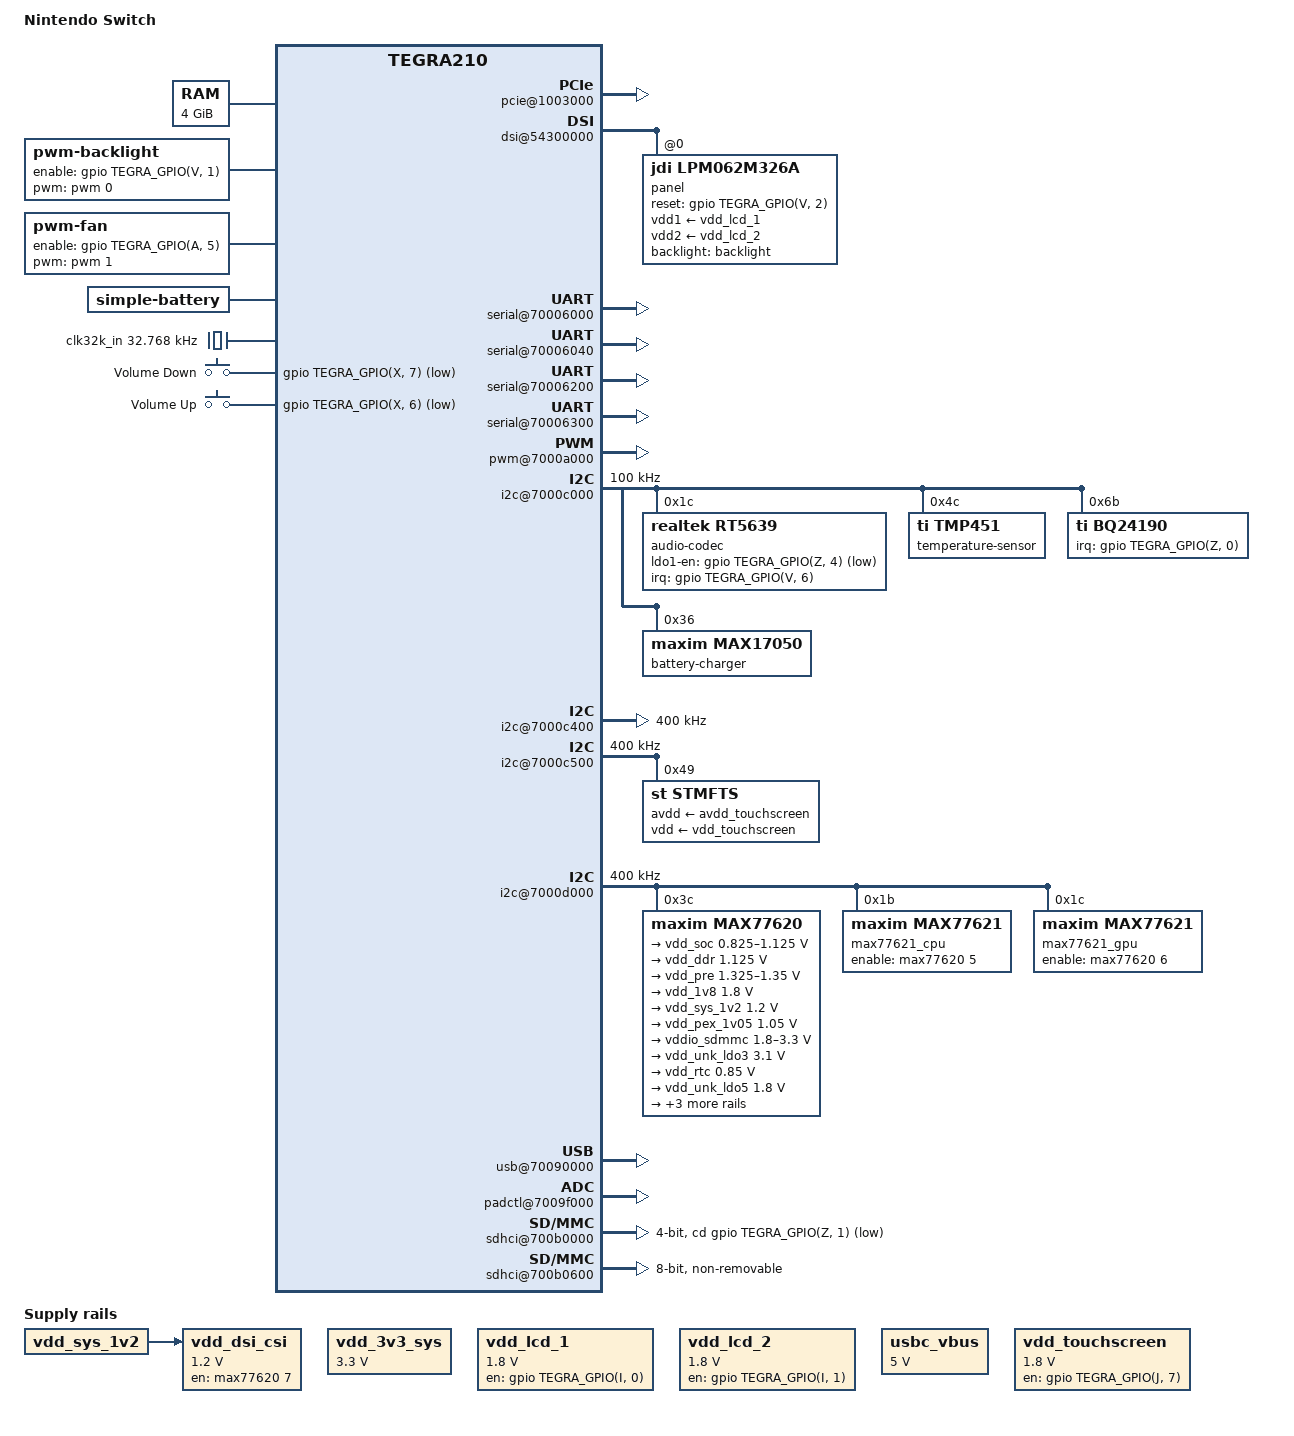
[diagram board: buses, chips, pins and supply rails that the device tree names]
// SPDX-License-Identifier: GPL-2.0
/dts-v1/;

#include <dt-bindings/input/input.h>
#include <dt-bindings/mfd/max77620.h>
#include <dt-bindings/pwm/pwm.h>
#include <dt-bindings/thermal/thermal.h>

#include "tegra210.dtsi"

/ {
	model = "Nintendo Switch";
	compatible = "nintendo,switch", "nvidia,tegra210";

	aliases {
		i2c1 = "/i2c@7000c000";
		i2c2 = "/i2c@7000c400";
		i2c3 = "/i2c@7000c500";
		i2c5 = "/i2c@7000d000";
		rtc0 = "/i2c@7000d000/max77620@3c";
		rtc1 = "/rtc@7000e000";
		serial0 = &uarta;
		serial1 = &uartb;
		serial2 = &uartc;
		serial3 = &uartd;
	};

	chosen {
		bootargs = "earlycon drm.debug=0x3f";
		stdout-path = "serial1:115200n8";
	};

	memory {
		device_type = "memory";
		reg = <0x0 0x80000000 0x1 0x0>;
	};

	cpus {
		cpu@0 {
			vdd-cpu-supply = <&max77621_cpu>;
		};
	};

	clock@70110000 {
		status = "okay";

		vdd-cpu-supply = <&max77621_cpu>;
		nvidia,sample-rate = <12500>;
		nvidia,droop-ctrl = <0x00000f00>;
		nvidia,force-mode = <1>;
		nvidia,cf = <10>;
		nvidia,ci = <0>;
		nvidia,cg = <2>;
		nvidia,i2c-fs-rate = <400000>;
	};

	pcie@1003000 {
		status = "okay";

		avdd-pll-uerefe-supply = <&avdd_1v05_pll>;
		hvddio-pex-supply = <&vdd_1v8>;
		dvddio-pex-supply = <&vdd_pex_1v05>;
		dvdd-pex-pll-supply = <&vdd_pex_1v05>;
		hvdd-pex-pll-e-supply = <&vdd_1v8>;
		vddio-pex-ctl-supply = <&vdd_1v8>;

		pci@1,0 {
			phys = <&{/padctl@7009f000/pads/pcie/lanes/pcie-1}>,
			       <&{/padctl@7009f000/pads/pcie/lanes/pcie-2}>,
			       <&{/padctl@7009f000/pads/pcie/lanes/pcie-3}>,
			       <&{/padctl@7009f000/pads/pcie/lanes/pcie-4}>;
			phy-names = "pcie-0", "pcie-1", "pcie-2", "pcie-3";
			status = "okay";
		};

		pci@2,0 {
			phys = <&{/padctl@7009f000/pads/pcie/lanes/pcie-0}>;
			phy-names = "pcie-0";
			status = "okay";
		};
	};

	host1x@50000000 {
		dsi@54300000 {
			status = "okay";

			avdd-dsi-csi-supply = <&vdd_dsi_csi>;

			panel@0 {
				compatible = "jdi,lpm062m326a";
				reg = <0>;

				reset-gpios = <&gpio TEGRA_GPIO(V, 2) GPIO_ACTIVE_HIGH>;
				vdd1-supply = <&vdd_lcd_1>;
				vdd2-supply = <&vdd_lcd_2>;
				backlight = <&backlight>;
			};
		};

		dpaux@54040000 {
			//status = "okay";
		};

	};

	backlight: backlight {
		compatible = "pwm-backlight";
		pwms = <&pwm 0 1666666 0>;
		pwm-names = "backlight";
		brightness-levels = <0 1 2 3 4 5 6 7 8 9 10 11 12 13 14 15 16
		                     17 18 19 20 21 22 23 24 25 26 27 28 29 30
		                     31 32 33 34 35 36 37 38 39 40 41 42 43 44
		                     45 46 47 48 49 50 51 52 53 54 55 56 57 58
		                     59 60 61 62 63 64 65 66 67 68 69 70 71 72
		                     73 74 75 76 77 78 79 80 81 82 83 84 85 86
		                     87 88 89 90 91 92 93 94 95 96 97 98 99 100>;
		default-brightness-level = <80>;

		enable-gpios = <&gpio TEGRA_GPIO(V, 1) GPIO_ACTIVE_HIGH>;
	};

	gpu@57000000 {
		vdd-supply = <&max77621_gpu>;
	};

	pinmux: pinmux@700008d4 {
		pinctrl-names = "default";
		pinctrl-0 = <&state_default>;

		state_default: pinmux {
			// I2C
			i2c1 {
				nvidia,pins = "gen1_i2c_sda_pj0", "gen1_i2c_scl_pj1";
				nvidia,function = "i2c1";
				nvidia,pull = <TEGRA_PIN_PULL_NONE>;
				nvidia,tristate = <TEGRA_PIN_DISABLE>;
				nvidia,enable-input = <TEGRA_PIN_ENABLE>;
				nvidia,open-drain = <TEGRA_PIN_DISABLE>;
				nvidia,io-hv = <TEGRA_PIN_DISABLE>;
			};
			i2c2 {
				nvidia,pins = "gen2_i2c_scl_pj2", "gen2_i2c_sda_pj3";
				nvidia,function = "i2c2";
				nvidia,pull = <TEGRA_PIN_PULL_NONE>;
				nvidia,tristate = <TEGRA_PIN_DISABLE>;
				nvidia,enable-input = <TEGRA_PIN_ENABLE>;
				nvidia,open-drain = <TEGRA_PIN_DISABLE>;
				nvidia,io-hv = <TEGRA_PIN_DISABLE>;
			};
			i2c3 {
				nvidia,pins = "gen3_i2c_scl_pf0", "gen3_i2c_sda_pf1";
				nvidia,function = "i2c3";
				nvidia,pull = <TEGRA_PIN_PULL_NONE>;
				nvidia,tristate = <TEGRA_PIN_DISABLE>;
				nvidia,enable-input = <TEGRA_PIN_ENABLE>;
				nvidia,open-drain = <TEGRA_PIN_DISABLE>;
				nvidia,io-hv = <TEGRA_PIN_DISABLE>;
			};
			i2c5 {
				nvidia,pins = "pwr_i2c_scl_py3", "pwr_i2c_sda_py4";
				nvidia,function = "i2cpmu";
				nvidia,pull = <TEGRA_PIN_PULL_NONE>;
				nvidia,tristate = <TEGRA_PIN_DISABLE>;
				nvidia,enable-input = <TEGRA_PIN_ENABLE>;
				nvidia,open-drain = <TEGRA_PIN_DISABLE>;
				nvidia,io-hv = <TEGRA_PIN_DISABLE>;
			};

			// Right side Joy-Con
			uart2_tx {
				nvidia,pins = "uart2_tx_pg0", "uart2_rts_pg2";
				nvidia,function = "uartb";
				nvidia,pull = <TEGRA_PIN_PULL_NONE>;
				nvidia,tristate = <TEGRA_PIN_DISABLE>;
				nvidia,enable-input = <TEGRA_PIN_DISABLE>;
				nvidia,open-drain = <TEGRA_PIN_DISABLE>;
			};
			uart2_rx {
				nvidia,pins = "uart2_rx_pg1", "uart2_cts_pg3";
				nvidia,function = "uartb";
				nvidia,pull = <TEGRA_PIN_PULL_UP>;
				nvidia,tristate = <TEGRA_PIN_DISABLE>;
				nvidia,enable-input = <TEGRA_PIN_ENABLE>;
				nvidia,open-drain = <TEGRA_PIN_DISABLE>;
			};

			// SD card
			sdmmc1_clk {
				nvidia,pins = "sdmmc1_clk_pm0";
				nvidia,function = "sdmmc1";
				nvidia,pull = <TEGRA_PIN_PULL_NONE>;
				nvidia,tristate = <TEGRA_PIN_DISABLE>;
				nvidia,enable-input = <TEGRA_PIN_ENABLE>;
				nvidia,open-drain = <TEGRA_PIN_DISABLE>;
			};
			sdmmc1_io {
				nvidia,pins = "sdmmc1_cmd_pm1", "sdmmc1_dat3_pm2", "sdmmc1_dat2_pm3", "sdmmc1_dat1_pm4", "sdmmc1_dat0_pm5";
				nvidia,function = "sdmmc1";
				nvidia,pull = <TEGRA_PIN_PULL_UP>;
				nvidia,tristate = <TEGRA_PIN_DISABLE>;
				nvidia,enable-input = <TEGRA_PIN_ENABLE>;
				nvidia,open-drain = <TEGRA_PIN_DISABLE>;
			};
			sdmmc1_cd {
				nvidia,pins = "pz1";
				nvidia,function = "sdmmc1";
				nvidia,pull = <TEGRA_PIN_PULL_UP>;
				nvidia,tristate = <TEGRA_PIN_DISABLE>;
				nvidia,enable-input = <TEGRA_PIN_ENABLE>;
				nvidia,open-drain = <TEGRA_PIN_DISABLE>;
			};
			sdmmc1_pwr {
				nvidia,pins = "dmic3_clk_pe4";
				nvidia,function = "rsvd3";
				nvidia,pull = <TEGRA_PIN_PULL_DOWN>;
				nvidia,tristate = <TEGRA_PIN_DISABLE>;
				nvidia,enable-input = <TEGRA_PIN_ENABLE>;
				nvidia,open-drain = <TEGRA_PIN_DISABLE>;
			};

			// LCD control
			lcd_bl_pwm {
				nvidia,pins = "lcd_bl_pwm_pv0";
				nvidia,function = "pwm0";
				nvidia,pull = <TEGRA_PIN_PULL_NONE>;
				nvidia,tristate = <TEGRA_PIN_DISABLE>;
				nvidia,enable-input = <TEGRA_PIN_DISABLE>;
				nvidia,open-drain = <TEGRA_PIN_DISABLE>;
			};
			lcd_gpio {
				// bl_en, rst, pwr1, pwr2
				nvidia,pins = "lcd_bl_en_pv1", "lcd_rst_pv2", "nfc_en_pi0", "nfc_int_pi1";
				nvidia,function = "rsvd3";
				nvidia,pull = <TEGRA_PIN_PULL_NONE>;
				nvidia,tristate = <TEGRA_PIN_DISABLE>;
				nvidia,enable-input = <TEGRA_PIN_DISABLE>;
				nvidia,open-drain = <TEGRA_PIN_DISABLE>;
			};

			// Buttons
			buttons {
				nvidia,pins = "button_vol_up_px6", "button_vol_down_px7";
				nvidia,function = "rsvd3";
				nvidia,pull = <TEGRA_PIN_PULL_UP>;
				nvidia,tristate = <TEGRA_PIN_DISABLE>;
				nvidia,enable-input = <TEGRA_PIN_ENABLE>;
				nvidia,open-drain = <TEGRA_PIN_DISABLE>;
			};

			// Audio codec
			rt5639_pwr { // or reset?
				nvidia,pins = "pz4";
				nvidia,function = "rsvd3";
				nvidia,pull = <TEGRA_PIN_PULL_DOWN>;
				nvidia,tristate = <TEGRA_PIN_DISABLE>;
				nvidia,enable-input = <TEGRA_PIN_DISABLE>;
				nvidia,open-drain = <TEGRA_PIN_DISABLE>;
			};
			rt5639_irq { // guess, could be bb4
				nvidia,pins = "touch_rst_pv6";
				nvidia,function = "rsvd3";
				nvidia,pull = <TEGRA_PIN_PULL_NONE>;
				nvidia,tristate = <TEGRA_PIN_ENABLE>;
				nvidia,enable-input = <TEGRA_PIN_ENABLE>;
				nvidia,open-drain = <TEGRA_PIN_DISABLE>;
			};

			// Fan
			fan_pwr {
				nvidia,pins = "sata_led_active_pa5";
				nvidia,function = "rsvd3";
				nvidia,pull = <TEGRA_PIN_PULL_NONE>;
				nvidia,tristate = <TEGRA_PIN_DISABLE>;
				nvidia,enable-input = <TEGRA_PIN_DISABLE>;
				nvidia,open-drain = <TEGRA_PIN_DISABLE>;
			};
			fan_pwm {
				nvidia,pins = "lcd_gpio2_pv4";
				nvidia,function = "pwm1";
				nvidia,pull = <TEGRA_PIN_PULL_NONE>;
				nvidia,tristate = <TEGRA_PIN_DISABLE>;
				nvidia,enable-input = <TEGRA_PIN_DISABLE>;
				nvidia,open-drain = <TEGRA_PIN_DISABLE>;
			};

			// Touchscreen
			touch_enable {
				nvidia,pins = "dap4_sclk_pj7";
				nvidia,function = "rsvd3";
				nvidia,pull = <TEGRA_PIN_PULL_DOWN>;
				nvidia,tristate = <TEGRA_PIN_DISABLE>;
				nvidia,enable-input = <TEGRA_PIN_DISABLE>;
				nvidia,open-drain = <TEGRA_PIN_DISABLE>;
			};

			// Misc unknown GPIOs
			in_none {
				// p5,p4,p3,p2,s1,h5,x5,y1,e6,h6,k2
				nvidia,pins = "sdmmc3_dat0_pp5", "sdmmc3_dat1_pp4", "sdmmc3_dat2_pp3", "sdmmc3_dat3_pp2", "cam2_mclk_ps1", "bt_wake_ap_ph5", "button_power_on_px5", "button_home_py1", "pe6", "ph6", "pk2";
				nvidia,function = "rsvd3";
				nvidia,pull = <TEGRA_PIN_PULL_NONE>;
				nvidia,tristate = <TEGRA_PIN_ENABLE>;
				nvidia,enable-input = <TEGRA_PIN_ENABLE>;
				nvidia,open-drain = <TEGRA_PIN_DISABLE>;
			};
			in_up {
				// s3,bb2,cc2,s7,x1,x4,y0,k4,k6,k7,z0,z3
				nvidia,pins = "cam_i2c_sda_ps3", "dvfs_clk_pbb2", "spdif_out_pcc2", "cam1_pwdn_ps7", "touch_int_px1", "temp_alert_px4", "button_slide_sw_py0", "pk4", "pk6", "pk7", "pz0", "pz3";
				nvidia,function = "rsvd3";
				nvidia,pull = <TEGRA_PIN_PULL_UP>;
				nvidia,tristate = <TEGRA_PIN_ENABLE>;
				nvidia,enable-input = <TEGRA_PIN_ENABLE>;
				nvidia,open-drain = <TEGRA_PIN_DISABLE>;
			};
			in_down {
				// p0,s0,h2,x2,k0,k1,z2,bb4
				nvidia,pins = "sdmmc3_clk_pp0", "cam1_mclk_ps0", "wifi_wake_ap_ph2", "motion_int_px2", "pk0", "pk1", "pz2", "gpio_x3_aud_pbb4";
				nvidia,function = "rsvd3";
				nvidia,pull = <TEGRA_PIN_PULL_DOWN>;
				nvidia,tristate = <TEGRA_PIN_ENABLE>;
				nvidia,enable-input = <TEGRA_PIN_ENABLE>;
				nvidia,open-drain = <TEGRA_PIN_DISABLE>;
			};
			out_none {
				// cc4,h7
				nvidia,pins = "usb_vbus_en0_pcc4", "ap_wake_nfc_ph7";
				nvidia,function = "rsvd3";
				nvidia,pull = <TEGRA_PIN_PULL_NONE>;
				nvidia,tristate = <TEGRA_PIN_DISABLE>;
				nvidia,enable-input = <TEGRA_PIN_DISABLE>;
				nvidia,open-drain = <TEGRA_PIN_DISABLE>;
			};
			out_down {
				// e5,j5,bb3,cc3,h0,h1,h3,h4,s6,v5,k3,k5,l0
				nvidia,pins = "dmic3_dat_pe5", "dap4_din_pj5", "gpio_x1_aud_pbb3", "spdif_in_pcc3", "wifi_en_ph0", "wifi_rst_ph1", "ap_wake_bt_ph3", "bt_rst_ph4", "cam_flash_en_ps6", "ap_ready_pv5", "pk3", "pk5", "pl0";
				nvidia,function = "rsvd3";
				nvidia,pull = <TEGRA_PIN_PULL_DOWN>;
				nvidia,tristate = <TEGRA_PIN_DISABLE>;
				nvidia,enable-input = <TEGRA_PIN_DISABLE>;
				nvidia,open-drain = <TEGRA_PIN_DISABLE>;
			};
		};
	};

	/* debug port */
	serial@70006000 {
		status = "okay";
	};

	/* right joycon */
	serial@70006040 {
		status = "okay";
	};

	/* bluetooth */
	serial@70006200 {
		status = "okay";
	};

	/* left joycon */
	serial@70006300 {
		status = "okay";
	};

	pwm@7000a000 {
		status = "okay";
		#pwm-cells = <3>;
	};

	fan: pwm-fan {
		compatible = "pwm-fan";
		cooling-min-state = <0>;
		cooling-max-state = <7>;
		#cooling-cells = <2>;
		pwms = <&pwm 1 40000 PWM_POLARITY_INVERTED>;
		enable-gpios = <&gpio TEGRA_GPIO(A, 5) GPIO_ACTIVE_HIGH>;
		cooling-levels = <0 64 80 96 128 160 192 255>;
	};

	bat: battery {
		compatible = "simple-battery";
		precharge-current-microamp = <512000>;
		charge-term-current-microamp = <256000>;
	};

	/* i2c1 @ 100000hz
	18: usb power delivery
	1c: realtek 5639
	36: some maxim fuel gauge
	4c:
	52:
	6b:
	*/
	i2c@7000c000 {
		status = "okay";
		clock-frequency = <100000>;

		audio-codec@1c {
			compatible = "realtek,rt5639";
			reg = <0x1c>;
			interrupt-parent = <&gpio>;
			interrupts = <TEGRA_GPIO(V, 6) IRQ_TYPE_LEVEL_HIGH>;
			realtek,ldo1-en-gpios = <&gpio TEGRA_GPIO(Z, 4) GPIO_ACTIVE_LOW>;
			status = "okay";
		};

		temperature-sensor@4c {
			compatible = "ti,tmp451";
			reg = <0x4c>;
// 			interrupt-parent = <&gpio>;
// 			interrupts = <TEGRA_GPIO(I, 6) IRQ_TYPE_LEVEL_LOW>;
		};

		bq24190: charger@6b {
			compatible = "ti,bq24190";
			reg = <0x6b>;
			interrupt-parent = <&gpio>;
			interrupts = <TEGRA_GPIO(Z, 0) IRQ_TYPE_EDGE_FALLING>;
			ti,system-minimum-microvolt = <3200000>;
			monitored-battery = <&bat>;
			status = "okay";
			omit-battery-class;
		};

		battery-charger@36 {
			compatible = "maxim,max17050";
			reg = <0x36>;
			maxim,rsns-microohm = <10000>;
			maxim,over-heat-temp = <600>;
			maxim,over-volt = <4300>;
			monitored-battery = <&bat>;
			power-supplies = <&bq24190>;
			status = "okay";
		};
	};

	/* i2c2 @ 400000hz
	29: ambient light sensor
	40:
	41:
	44:
	45:
	46:
	47:
	48:
	49:
	4a:
	4b:
	4d:
	*/
	i2c@7000c400 {
		status = "okay";
		clock-frequency = <400000>;
	};

	/* i2c3 @ 400000hz
	49:
	*/
	i2c@7000c500 {
		status = "okay";
		clock-frequency = <400000>;

		stmfts: touchscreen@49 {
			compatible = "st,stmfts";
			reg = <0x49>;
// 			interrupt-parent = <&gpio>;
// 			interrupts = <TEGRA_GPIO(X, 1) IRQ_TYPE_LEVEL_HIGH>;
			avdd-supply = <&avdd_touchscreen>;
			vdd-supply = <&vdd_touchscreen>;
			touchscreen-size-x = <1280>;
			touchscreen-size-y = <720>;
		};
	};

	/* i2c5 @ 400000hz
	1b: max77621_cpu
	1c: max77621_gpu
	3c: max77620
	68: max77620_rtc
	*/
	i2c@7000d000 {
		status = "okay";
		clock-frequency = <400000>;

		max77620: max77620@3c {
			compatible = "maxim,max77620";
			reg = <0x3c>;
			interrupts = <GIC_SPI 86 IRQ_TYPE_LEVEL_HIGH>;

			#interrupt-cells = <2>;
			interrupt-controller;

			#gpio-cells = <2>;
			gpio-controller;

			#thermal-sensor-cells = <0>;


			pinctrl-names = "default";
			pinctrl-0 = <&max77620_default>;

			max77620_default: pinmux {
				gpio2 {
					pins = "gpio2";
					function = "fps-out";
					maxim,active-fps-source = <MAX77620_FPS_SRC_0>;
					maxim,active-fps-power-up-slot = <0>;
					maxim,active-fps-power-down-slot = <7>;
				};

				gpio3 {
					pins = "gpio3";
					function = "fps-out";
					maxim,active-fps-source = <MAX77620_FPS_SRC_0>;
					maxim,active-fps-power-up-slot = <4>;
					maxim,active-fps-power-down-slot = <2>;
				};

				pin_32k {
					pins = "gpio4";
					function = "32k-out1";
				};

				gpio5_6_7 {
					pins = "gpio5", "gpio6", "gpio7";
					function = "gpio";
					drive-push-pull = <1>;
				};
			};

			fps {
				fps0 {
					maxim,fps-event-source = <MAX77620_FPS_EVENT_SRC_EN0>;
					maxim,suspend-fps-time-period-us = <5120>;
				};

				fps1 {
					maxim,fps-event-source = <MAX77620_FPS_EVENT_SRC_EN1>;
					maxim,suspend-fps-time-period-us = <5120>;
				};

				fps2 {
					maxim,fps-event-source = <MAX77620_FPS_EVENT_SRC_EN0>;
					maxim,suspend-fps-time-period-us = <5120>;
				};
			};

			regulators {
				in-ldo0-1-supply = <&vdd_pre>;
				in-ldo7-8-supply = <&vdd_pre>;

				vdd_soc: sd0 {
					regulator-name = "VDD_SOC";
					regulator-min-microvolt = <825000>;
					regulator-max-microvolt = <1125000>;
					regulator-always-on;
					regulator-boot-on;

					regulator-enable-ramp-delay = <146>;
					regulator-disable-ramp-delay = <4080>;
					regulator-ramp-delay = <27500>;

					maxim,active-fps-source = <MAX77620_FPS_SRC_1>;
					maxim,active-fps-power-up-slot = <1>;
					maxim,active-fps-power-down-slot = <7>;
				};

				vdd_ddr: sd1 {
					regulator-name = "VDD_DDR_1V1_PMIC";
					regulator-min-microvolt = <1125000>;
					regulator-max-microvolt = <1125000>;
					regulator-always-on;
					regulator-boot-on;

					regulator-enable-ramp-delay = <130>;
					regulator-disable-ramp-delay = <145800>;
					regulator-ramp-delay = <27500>;

					maxim,active-fps-source = <MAX77620_FPS_SRC_0>;
					maxim,active-fps-power-up-slot = <5>;
					maxim,active-fps-power-down-slot = <1>;
				};

				vdd_pre: sd2 {
					regulator-name = "VDD_PRE_REG_1V35";
					regulator-min-microvolt = <1325000>;
					regulator-max-microvolt = <1350000>;
					regulator-always-on;
					regulator-boot-on;

					regulator-enable-ramp-delay = <176>;
					regulator-disable-ramp-delay = <32000>;
					regulator-ramp-delay = <27500>;

					maxim,active-fps-source = <MAX77620_FPS_SRC_1>;
					maxim,active-fps-power-up-slot = <2>;
					maxim,active-fps-power-down-slot = <5>;
				};

				vdd_1v8: sd3 {
					regulator-name = "VDD_1V8";
					regulator-min-microvolt = <1800000>;
					regulator-max-microvolt = <1800000>;
					regulator-always-on;
					regulator-boot-on;

					regulator-enable-ramp-delay = <242>;
					regulator-disable-ramp-delay = <118000>;
					regulator-ramp-delay = <27500>;

					maxim,active-fps-source = <MAX77620_FPS_SRC_0>;
					maxim,active-fps-power-up-slot = <3>;
					maxim,active-fps-power-down-slot = <3>;
				};

				vdd_sys_1v2: ldo0 {
					regulator-name = "AVDD_SYS_1V2";
					regulator-min-microvolt = <1200000>;
					regulator-max-microvolt = <1200000>;
					regulator-always-on;
					regulator-boot-on;

					regulator-enable-ramp-delay = <26>;
					regulator-disable-ramp-delay = <626>;
					regulator-ramp-delay = <100000>;

					maxim,active-fps-source = <MAX77620_FPS_SRC_NONE>;
					maxim,active-fps-power-up-slot = <0>;
					maxim,active-fps-power-down-slot = <7>;
				};

				vdd_pex_1v05: ldo1 {
					regulator-name = "VDD_PEX_1V05";
					regulator-min-microvolt = <1050000>;
					regulator-max-microvolt = <1050000>;
					regulator-always-on;
					regulator-boot-on;

					regulator-enable-ramp-delay = <22>;
					regulator-disable-ramp-delay = <630>;
					regulator-ramp-delay = <100000>;

					maxim,active-fps-source = <MAX77620_FPS_SRC_NONE>;
					maxim,active-fps-power-up-slot = <0>;
					maxim,active-fps-power-down-slot = <7>;
				};

				vddio_sdmmc: ldo2 {
					regulator-name = "VDDIO_SDMMC";
					regulator-min-microvolt = <1800000>;
					regulator-max-microvolt = <3300000>;
					regulator-always-on;
					regulator-boot-on;

					regulator-enable-ramp-delay = <62>;
					regulator-disable-ramp-delay = <650>;
					regulator-ramp-delay = <100000>;

					maxim,active-fps-source = <MAX77620_FPS_SRC_NONE>;
					maxim,active-fps-power-up-slot = <0>;
					maxim,active-fps-power-down-slot = <7>;
				};

				vdd_unk_ldo3: ldo3 {
					regulator-name = "VDD_UNK_LDO3";
					regulator-min-microvolt = <3100000>;
					regulator-max-microvolt = <3100000>;
					regulator-always-on;
					regulator-boot-on;

					regulator-enable-ramp-delay = <50>;
					regulator-disable-ramp-delay = <1110>;
					regulator-ramp-delay = <100000>;

					maxim,active-fps-source = <MAX77620_FPS_SRC_NONE>;
					maxim,active-fps-power-up-slot = <0>;
					maxim,active-fps-power-down-slot = <7>;
				};

				vdd_rtc: ldo4 {
					regulator-name = "VDD_RTC";
					regulator-min-microvolt = <850000>;
					regulator-max-microvolt = <850000>;
					regulator-always-on;
					regulator-boot-on;

					regulator-enable-ramp-delay = <22>;
					regulator-disable-ramp-delay = <610>;
					regulator-ramp-delay = <100000>;

					maxim,active-fps-source = <MAX77620_FPS_SRC_0>;
					maxim,active-fps-power-up-slot = <1>;
					maxim,active-fps-power-down-slot = <7>;
				};

				vdd_unk_ldo5: ldo5 {
					regulator-name = "VDD_UNK_LDO5";
					regulator-min-microvolt = <1800000>;
					regulator-max-microvolt = <1800000>;
					regulator-always-on;
					regulator-boot-on;

					regulator-enable-ramp-delay = <62>;
					regulator-disable-ramp-delay = <640>;
					regulator-ramp-delay = <100000>;

					maxim,active-fps-source = <MAX77620_FPS_SRC_NONE>;
					maxim,active-fps-power-up-slot = <0>;
					maxim,active-fps-power-down-slot = <7>;
				};

				avdd_touchscreen: ldo6 {
					regulator-name = "UNK_LDO6";
					regulator-min-microvolt = <2900000>;
					regulator-max-microvolt = <2900000>;

					regulator-enable-ramp-delay = <36>;
					regulator-disable-ramp-delay = <674>;
					regulator-ramp-delay = <100000>;

					maxim,active-fps-source = <MAX77620_FPS_SRC_NONE>;
					maxim,active-fps-power-up-slot = <0>;
					maxim,active-fps-power-down-slot = <7>;
				};

				avdd_1v05_pll: ldo7 {
					regulator-name = "AVDD_1V05_PLL";
					regulator-min-microvolt = <1050000>;
					regulator-max-microvolt = <1050000>;
					regulator-always-on;
					regulator-boot-on;

					regulator-enable-ramp-delay = <24>;
					regulator-disable-ramp-delay = <2768>;
					regulator-ramp-delay = <100000>;

					maxim,active-fps-source = <MAX77620_FPS_SRC_1>;
					maxim,active-fps-power-up-slot = <3>;
					maxim,active-fps-power-down-slot = <4>;
				};

				avdd_1v05: ldo8 {
					regulator-name = "AVDD_SATA_HDMI_DP_1V05";
					regulator-min-microvolt = <1050000>;
					regulator-max-microvolt = <1050000>;
					regulator-always-on;
					regulator-boot-on;

					regulator-enable-ramp-delay = <22>;
					regulator-disable-ramp-delay = <1160>;
					regulator-ramp-delay = <100000>;

					maxim,active-fps-source = <MAX77620_FPS_SRC_NONE>;
					maxim,active-fps-power-up-slot = <0>;
					maxim,active-fps-power-down-slot = <7>;
				};
			};
		};

		max77621_cpu: pmic@1b {
			compatible = "maxim,max77621";
			reg = <0x1b>;
// 			interrupt-parent = <&gpio>;
// 			interrupts = <TEGRA_GPIO(Y, 1) IRQ_TYPE_LEVEL_LOW>;
			regulator-name = "PPVAR_CPU";
			// smaug: 800000..1231250
			regulator-min-microvolt = <800000>;
			regulator-max-microvolt = <1231250>;
			regulator-ramp-delay = <12000>;
			maxim,externally-enable;
			maxim,enable-gpio = <&max77620 5 0>;
			maxim,dvs-default-state = <1>;
			regulator-always-on;
			maxim,enable-remote-sense;
			maxim,enable-active-discharge;
			junction-warn-millicelsius = <120>;

			// not supported in mainline yet
			//maxim,inductor-value = <MAX8973_INDUCTOR_VAL_PLUS_30_PER>;

			#thermal-sensor-cells = <0>;
		};

		max77621_gpu: pmic@1c {
			compatible = "maxim,max77621";
			reg = <0x1c>;
// 			interrupt-parent = <&gpio>;
// 			interrupts = <TEGRA_GPIO(A, 6) IRQ_TYPE_LEVEL_LOW>;
			regulator-name = "PPVAR_GPU";
			regulator-min-microvolt = <840000>;
			regulator-max-microvolt = <1150000>;
			regulator-ramp-delay = <12000>;
			maxim,externally-enable;
			maxim,enable-gpio = <&max77620 6 0>;
			maxim,dvs-default-state = <1>;
			maxim,enable-remote-sense;
			maxim,enable-active-discharge;
			junction-warn-millicelsius = <120>;

			// not supported in mainline yet
			//maxim,inductor-value = <MAX8973_INDUCTOR_VAL_PLUS_30_PER>;

			#thermal-sensor-cells = <0>;
		};
	};

	pmc@7000e400 {
		nvidia,invert-interrupt;
	};

	usb@70090000 {
		phys = <&{/padctl@7009f000/pads/usb2/lanes/usb2-0}>,
		       <&{/padctl@7009f000/pads/pcie/lanes/pcie-6}>;
		phy-names = "usb2-0", "usb3-0";

		dvddio-pex-supply = <&vdd_pex_1v05>;
		hvddio-pex-supply = <&vdd_1v8>;
		avdd-usb-supply = <&vdd_3v3_sys>;
		avdd-pll-utmip-supply = <&vdd_1v8>;
		avdd-pll-uerefe-supply = <&avdd_1v05_pll>;
		dvdd-usb-ss-pll-supply = <&vdd_pex_1v05>;
		hvdd-usb-ss-pll-e-supply = <&vdd_1v8>;

		status = "okay";
	};

	padctl@7009f000 {
		status = "okay";

		pads {
			usb2 {
				status = "okay";

				lanes {
					usb2-0 {
						nvidia,function = "xusb";
						status = "okay";
					};
				};
			};

			pcie {
				status = "okay";

				lanes {
					pcie-0 {
						nvidia,function = "pcie-x1";
						status = "okay";
					};
					pcie-1 {
						nvidia,function = "pcie-x4";
						status = "okay";
					};
					pcie-2 {
						nvidia,function = "pcie-x4";
						status = "okay";
					};
					pcie-3 {
						nvidia,function = "pcie-x4";
						status = "okay";
					};
					pcie-4 {
						nvidia,function = "pcie-x4";
						status = "okay";
					};
					pcie-5 {
						nvidia,function = "usb3-ss";
						status = "okay";
					};
					pcie-6 {
						nvidia,function = "usb3-ss";
						status = "okay";
					};
				};
			};
		};

		ports {
			usb2-0 {
				status = "okay";
				vbus-supply = <&usbc_vbus>;
				mode = "otg";
			};

			usb3-0 {
				nvidia,usb2-companion = <0>;
				vbus-supply = <&usbc_vbus>;
				status = "okay";
			};
		};
	};

	/* MMC/SD */
	sdhci@700b0000 {
		status = "okay";
		bus-width = <4>;

		cd-gpios = <&gpio TEGRA_GPIO(Z, 1) GPIO_ACTIVE_LOW>;
		power-gpios = <&gpio TEGRA_GPIO(E, 4) GPIO_ACTIVE_HIGH>;
		vqmmc-supply = <&vddio_sdmmc>;
	};

	/* eMMC */
	sdhci@700b0600 {
		status = "okay";
		bus-width = <8>;
		non-removable;
	};

	aconnect@702c0000 {
		status = "okay";

		dma@702e2000 {
			status = "okay";
		};

		agic@702f9000 {
			status = "okay";
		};
	};

	clocks {
		compatible = "simple-bus";
		#address-cells = <1>;
		#size-cells = <0>;

		clk32k_in: clock@0 {
			compatible = "fixed-clock";
			reg = <0>;
			#clock-cells = <0>;
			clock-frequency = <32768>;
		};
	};

	gpio-keys {
		compatible = "gpio-keys";
		label = "gpio-keys";

		volume_down {
			label = "Volume Down";
			gpios = <&gpio TEGRA_GPIO(X, 7) GPIO_ACTIVE_LOW>;
			linux,code = <KEY_VOLUMEDOWN>;
		};

		volume_up {
			label = "Volume Up";
			gpios = <&gpio TEGRA_GPIO(X, 6) GPIO_ACTIVE_LOW>;
			linux,code = <KEY_VOLUMEUP>;
		};
	};

	regulators {
		compatible = "simple-bus";
		#address-cells = <1>;
		#size-cells = <0>;

		vdd_3v3_sys: regulator@0 {
			compatible = "regulator-fixed";
			reg = <0>;
			regulator-name = "PP3300";
			regulator-min-microvolt = <3300000>;
			regulator-max-microvolt = <3300000>;
			regulator-boot-on;
			regulator-always-on;
		};

		vdd_lcd_1: regulator@1 {
			compatible = "regulator-fixed";
			reg = <1>;
			regulator-name = "vcc_lcd_1";
			regulator-min-microvolt = <1800000>;
			regulator-max-microvolt = <1800000>;
			gpio = <&gpio TEGRA_GPIO(I, 0) GPIO_ACTIVE_HIGH>;
			enable-active-high;
		};

		vdd_lcd_2: regulator@2 {
			compatible = "regulator-fixed";
			reg = <2>;
			regulator-name = "vcc_lcd_2";
			regulator-min-microvolt = <1800000>;
			regulator-max-microvolt = <1800000>;
			gpio = <&gpio TEGRA_GPIO(I, 1) GPIO_ACTIVE_HIGH>;
			enable-active-high;
		};

		vdd_dsi_csi: regulator@3 {
			compatible = "regulator-fixed";
			reg = <3>;
			regulator-name = "AVDD_DSI_CSI_1V2";
			gpio = <&max77620 7 0>;
			enable-active-high;
			regulator-min-microvolt = <1200000>;
			regulator-max-microvolt = <1200000>;
			vin-supply = <&vdd_sys_1v2>;
			regulator-always-on;
			regulator-boot-on;
		};

		usbc_vbus: regulator@4 {
			compatible = "regulator-fixed";
			reg = <4>;
			regulator-name = "USBC_VBUS";
			regulator-min-microvolt = <5000000>;
			regulator-max-microvolt = <5000000>;
		};

		vdd_touchscreen: regulator@5 {
			compatible = "regulator-fixed";
			reg = <5>;
			regulator-name = "vdd_touchscreen";
			regulator-min-microvolt = <1800000>;
			regulator-max-microvolt = <1800000>;
			gpio = <&gpio TEGRA_GPIO(J, 7) GPIO_ACTIVE_HIGH>;
			enable-active-high;
		};
	};

	thermal-zones {
		cpu {
			polling-delay-passive = <250>;
			polling-delay = <500>;
			hwmon;

			trips {
				cpu_alert0: cpu-alert-0 {
					temperature = <40000>;
					hysteresis = <5000>;
					type = "active";
				};
				cpu_alert1: cpu-alert-1 {
					temperature = <50000>;
					hysteresis = <5000>;
					type = "active";
				};
				cpu_alert2: cpu-alert-2 {
					temperature = <60000>;
					hysteresis = <5000>;
					type = "active";
				};
				cpu_alert3: cpu-alert-3 {
					temperature = <70000>;
					hysteresis = <5000>;
					type = "active";
				};
				cpu_alert4: cpu-alert-4 {
					temperature = <80000>;
					hysteresis = <5000>;
					type = "active";
				};
			};

			cooling-maps {
				map1 {
					trip = <&cpu_alert0>;
					cooling-device = <&fan 1 2>;
				};
				map2 {
					trip = <&cpu_alert1>;
					cooling-device = <&fan 2 3>;
				};
				map3 {
					trip = <&cpu_alert2>;
					cooling-device = <&fan 3 5>;
				};
				map4 {
					trip = <&cpu_alert3>;
					cooling-device = <&fan 5 6>;
				};
				map5 {
					trip = <&cpu_alert4>;
					cooling-device = <&fan 6 THERMAL_NO_LIMIT>;
				};
			};
		};

		gpu {
			polling-delay-passive = <250>;
			polling-delay = <500>;
			hwmon;

			trips {
				gpu_alert0: gpu-alert-0 {
					temperature = <40000>;
					hysteresis = <5000>;
					type = "active";
				};
				gpu_alert1: gpu-alert-1 {
					temperature = <50000>;
					hysteresis = <5000>;
					type = "active";
				};
				gpu_alert2: gpu-alert-2 {
					temperature = <60000>;
					hysteresis = <5000>;
					type = "active";
				};
				gpu_alert3: gpu-alert-3 {
					temperature = <70000>;
					hysteresis = <5000>;
					type = "active";
				};
				gpu_alert4: gpu-alert-4 {
					temperature = <80000>;
					hysteresis = <5000>;
					type = "active";
				};
			};

			cooling-maps {
				map1 {
					trip = <&gpu_alert0>;
					cooling-device = <&fan 1 2>;
				};
				map2 {
					trip = <&gpu_alert1>;
					cooling-device = <&fan 2 3>;
				};
				map3 {
					trip = <&gpu_alert2>;
					cooling-device = <&fan 3 5>;
				};
				map4 {
					trip = <&gpu_alert3>;
					cooling-device = <&fan 5 6>;
				};
				map5 {
					trip = <&gpu_alert4>;
					cooling-device = <&fan 6 THERMAL_NO_LIMIT>;
				};
			};
		};

		mem {
			hwmon;
		};

		pllx {
			hwmon;
		};

		pmic {
			polling-delay-passive = <250>;
			polling-delay = <500>;
			thermal-sensors = <&max77620>;

			trips {
				pmic_die_warn_temp_thresh: hot-die {
					temperature = <120000>;
					type = "hot";
					hysteresis = <0>;
				};

				pmic_die_cirt_temp_thresh: critical-die {
					temperature = <140000>;
					type = "critical";
					hysteresis = <0>;
				};
			};

			cooling-maps {
				map0 {
					trip = <&pmic_die_warn_temp_thresh>;
					cooling-device = <&throttle_heavy 1 1>;
					contribution = <100>;
				};
			};
		};

		cpu_vreg {
			polling-delay-passive = <250>;
			polling-delay = <500>;
			thermal-sensors = <&max77621_cpu>;

			trips {
				cpu_vreg_die_warn_temp_thresh: hot-die {
					temperature = <120000>;
					type = "hot";
					hysteresis = <0>;
				};
			};

			cooling-maps {
				map0 {
					trip = <&cpu_vreg_die_warn_temp_thresh>;
					cooling-device = <&throttle_heavy 1 1>;
					contribution = <100>;
				};
			};
		};

		gpu_vreg {
			polling-delay-passive = <250>;
			polling-delay = <500>;
			thermal-sensors = <&max77621_gpu>;

			trips {
				gpu_vreg_die_warn_temp_thresh: hot-die {
					temperature = <120000>;
					type = "hot";
					hysteresis = <0>;
				};
			};

			cooling-maps {
				/*
				* There are currently no cooling maps,
				* because there are no cooling devices.
				*/
			};
		};

	};
};
